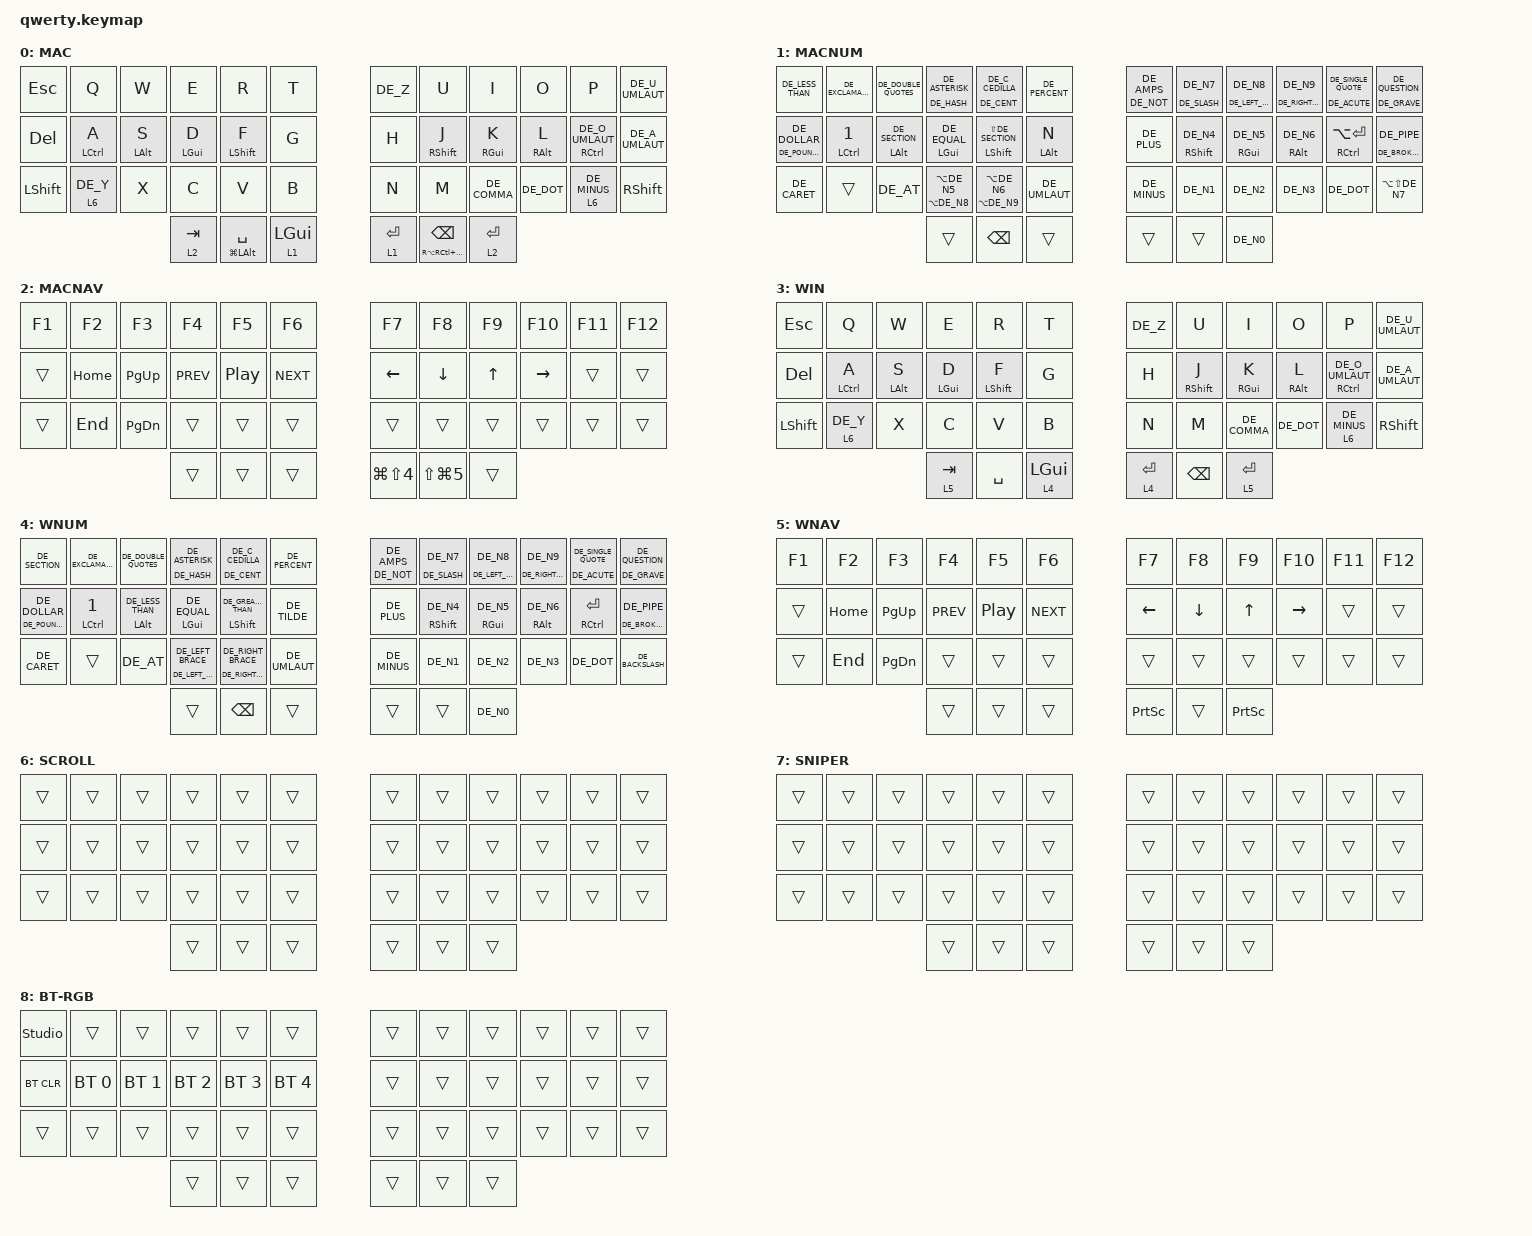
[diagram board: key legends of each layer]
/* upstream bindings and behaviors */
#include <behaviors.dtsi>
#include <dt-bindings/zmk/bt.h>
#include <dt-bindings/zmk/keys.h>
#include <dt-bindings/zmk/mouse.h>
#include <dt-bindings/zmk/outputs.h>
#include <behaviors/mouse_keys.dtsi>
#include <dt-bindings/zmk/ext_power.h>

/* local overlays */
#include "keymap_features/macros.dtsi"
#include "keymap_features/behaviors.dtsi"
#include "keymap_features/combos.dtsi"
#include "keymap_features/keys_de_swiss.h"

/ {
/* --- KEYMAP CONFIG --- */
// ╭──────┬──────┬──────┬──────┬──────┬──────╮  ╭──────┬──────┬──────┬──────┬──────┬──────╮
//    00     01     02     03    04      05        06     07     08     09     10     11
// ├──────┼──────┼──────┼──────┼──────┼──────┤  ├──────┼──────┼──────┼──────┼──────┼──────┤
//    12     13     14     15    16      17        18     19     20     21     22     23
// ├──────┼──────┼──────┼──────┼──────┼──────┤  ├──────┼──────┼──────┼──────┼──────┼──────┤
//    24     25     26     27    28      29        30     31     32     33     34     35
// ╰──────┴──────┴──────┼──────┼──────┼──────┤  ├──────┼──────┼──────┴──────┴──────┴──────╯
//                         36     37     38        39     40     41
//                      ╰──────┴──────┴──────╯  ╰──────┴──────┴──────╯
// #define BASE       0
// #define MACNUM    1
// #define MACNAV    2
// #define WIN       3
// #define WNUM      4
// #define WNAV      5
// #define SCROLL    6
// #define SNIPER    7
// #define BT-RGB    8

    keymap {
        compatible = "zmk,keymap";
        BASE {
            display-name = "MAC";
            bindings = <
    &kp ESC         &kp Q                &kp W            &kp E            &kp R                    &kp T             &kp DE_Z     &kp U                             &kp I             &kp O             &kp P                           &kp DE_U_UMLAUT
    &kp DELETE      &hml LEFT_CONTROL A  &hml LEFT_ALT S  &hml LEFT_GUI D  &hml LEFT_SHIFT F        &kp G             &kp H        &hmr RIGHT_SHIFT J                &hml RIGHT_GUI K  &hml RIGHT_ALT L  &hml RIGHT_CONTROL DE_O_UMLAUT  &kp DE_A_UMLAUT
    &kp LEFT_SHIFT  &lt 6 DE_Y           &kp X            &kp C            &kp V                    &kp B             &kp N        &kp M                             &kp DE_COMMA      &kp DE_DOT        &lt 6 DE_MINUS                  &kp RIGHT_SHIFT
                                                        &lt 2 TAB        &hml LG(LEFT_ALT) SPACE  &lt 1 LEFT_GUI    &lt 1 ENTER  &hmr RA(RC(RIGHT_GUI)) BACKSPACE  &lt 2 ENTER
                           // ╰────────┴────────┴────────╯  ╰────────┴────────┴────────╯
            >;
        };

        mac_raise_layer {
            display-name = "MACNUM";
            bindings = <
    &kp DE_LESS_THAN              &kp DE_EXCLAMATION    &kp DE_DOUBLE_QUOTES      &hml DE_HASH DE_ASTERISK  &hml DE_CENT DE_C_CEDILLA       &kp DE_PERCENT     &hmr DE_NOT DE_AMPS  &hmr DE_SLASH DE_N7     &hmr DE_LEFT_PARENTHESIS DE_N8  &hmr DE_RIGHT_PARENTHESIS DE_N9  &hmr DE_ACUTE DE_SINGLE_QUOTE  &hmr DE_GRAVE DE_QUESTION
    &hml DE_POUND_SIGN DE_DOLLAR  &hml LEFT_CONTROL N1  &hml LEFT_ALT DE_SECTION  &hml LEFT_GUI DE_EQUAL    &hml LEFT_SHIFT LS(DE_SECTION)  &hml LEFT_ALT N    &kp DE_PLUS          &hmr RIGHT_SHIFT DE_N4  &hmr RIGHT_GUI DE_N5            &hmr RIGHT_ALT DE_N6             &hmr RIGHT_CONTROL LA(RETURN)  &hmr DE_BROKEN_BAR DE_PIPE
    &kp DE_CARET                  &trans                &kp DE_AT                 &hml LA(DE_N8) LA(DE_N5)  &hml LA(DE_N9) LA(DE_N6)        &kp DE_UMLAUT      &kp DE_MINUS         &kp DE_N1               &kp DE_N2                       &kp DE_N3                        &kp DE_DOT                     &kp LA(LS(DE_N7))
                                                                                &trans                    &kp BACKSPACE                   &trans             &trans               &trans                  &kp DE_N0
                           // ╰────────┴────────┴────────╯  ╰────────┴────────┴────────╯
            >;
        };

        mac_lower_layer {
            display-name = "MACNAV";
            bindings = <
    &kp F1  &kp F2    &kp F3         &kp F4      &kp F5            &kp F6        &kp F7                &kp F8                &kp F9          &kp F10       &kp F11          &kp F12
    &trans  &kp HOME  &kp PAGE_UP    &kp C_PREV  &kp C_PLAY_PAUSE  &kp C_NEXT    &kp LEFT_ARROW        &kp DOWN_ARROW        &kp UP_ARROW    &kp RIGHT_ARROW  &trans        &trans
    &trans  &kp END   &kp PAGE_DOWN  &trans      &trans            &trans        &trans                &trans                &trans          &trans        &trans           &trans
                                    &trans      &trans            &trans        &kp LG(LS(NUMBER_4))  &kp LS(LG(NUMBER_5))  &trans
                           // ╰────────┴────────┴────────╯  ╰────────┴────────┴────────╯
            >;
        };

        win_layer {
            display-name = "WIN";
            bindings = <
    &kp ESC         &kp Q                &kp W            &kp E            &kp R              &kp T             &kp DE_Z     &kp U               &kp I             &kp O             &kp P                           &kp DE_U_UMLAUT
    &kp DELETE      &hml LEFT_CONTROL A  &hml LEFT_ALT S  &hml LEFT_GUI D  &hml LEFT_SHIFT F  &kp G             &kp H        &hmr RIGHT_SHIFT J  &hml RIGHT_GUI K  &hml RIGHT_ALT L  &hml RIGHT_CONTROL DE_O_UMLAUT  &kp DE_A_UMLAUT
    &kp LEFT_SHIFT  &lt 6 DE_Y           &kp X            &kp C            &kp V              &kp B             &kp N        &kp M               &kp DE_COMMA      &kp DE_DOT        &lt 6 DE_MINUS                  &kp RIGHT_SHIFT
                                                        &lt 5 TAB        &kp SPACE          &lt 4 LEFT_GUI    &lt 4 ENTER  &kp BACKSPACE       &lt 5 ENTER
                           // ╰────────┴────────┴────────╯  ╰────────┴────────┴────────╯
            >;
        };

        win_raise_layer {
            display-name = "WNUM";
            bindings = <
    &kp DE_SECTION                &kp DE_EXCLAMATION    &kp DE_DOUBLE_QUOTES        &hml DE_HASH DE_ASTERISK            &hml DE_CENT DE_C_CEDILLA             &kp DE_PERCENT    &hmr DE_NOT DE_AMPS  &hmr DE_SLASH DE_N7     &hmr DE_LEFT_PARENTHESIS DE_N8  &hmr DE_RIGHT_PARENTHESIS DE_N9  &hmr DE_ACUTE DE_SINGLE_QUOTE  &hmr DE_GRAVE DE_QUESTION
    &hml DE_POUND_SIGN DE_DOLLAR  &hml LEFT_CONTROL N1  &hml LEFT_ALT DE_LESS_THAN  &hml LEFT_GUI DE_EQUAL              &hml LEFT_SHIFT DE_GREATER_THAN       &kp DE_TILDE      &kp DE_PLUS          &hmr RIGHT_SHIFT DE_N4  &hmr RIGHT_GUI DE_N5            &hmr RIGHT_ALT DE_N6             &hmr RIGHT_CONTROL ENTER       &hmr DE_BROKEN_BAR DE_PIPE
    &kp DE_CARET                  &trans                &kp DE_AT                   &hml DE_LEFT_BRACKET DE_LEFT_BRACE  &hml DE_RIGHT_BRACKET DE_RIGHT_BRACE  &kp DE_UMLAUT     &kp DE_MINUS         &kp DE_N1               &kp DE_N2                       &kp DE_N3                        &kp DE_DOT                     &kp DE_BACKSLASH
                                                                                    &trans                              &kp BACKSPACE                         &trans            &trans               &trans                  &kp DE_N0
            >;
        };

        win_lower_layer {
            display-name = "WNAV";
            bindings = <
    &kp F1  &kp F2    &kp F3         &kp F4      &kp F5            &kp F6        &kp F7           &kp F8          &kp F9           &kp F10       &kp F11          &kp F12
    &trans  &kp HOME  &kp PAGE_UP    &kp C_PREV  &kp C_PLAY_PAUSE  &kp C_NEXT    &kp LEFT_ARROW   &kp DOWN_ARROW  &kp UP_ARROW     &kp RIGHT_ARROW  &trans           &trans
    &trans  &kp END   &kp PAGE_DOWN  &trans      &trans            &trans        &trans           &trans          &trans           &trans        &trans           &trans
                                    &trans      &trans            &trans        &kp PRINTSCREEN  &trans          &kp PRINTSCREEN
                           // ╰────────┴────────┴────────╯  ╰────────┴────────┴────────╯
            >;
        };

        SCROLL {
            display-name = "SCROLL";
            bindings = <
// ╭────────┬────────┬────────┬────────┬────────┬────────╮  ╭────────┬────────┬────────┬────────┬────────┬────────╮
    &trans    &trans   &trans   &trans   &trans   &trans      &trans   &trans   &trans   &trans   &trans   &trans
// ├────────┼────────┼────────┼────────┼────────┼────────┤  ├────────┼────────┼────────┼────────┼────────┼────────┤
    &trans    &trans   &trans   &trans   &trans   &trans      &trans   &trans   &trans   &trans   &trans   &trans
// ├────────┼────────┼────────┼────────┼────────┼────────┤  ├────────┼────────┼────────┼────────┼────────┼────────┤
    &trans    &trans   &trans   &trans   &trans   &trans      &trans   &trans   &trans   &trans   &trans   &trans
// ╰────────┴────────┴────────┼────────┼────────┼────────┤  ├────────┼────────┼────────┴────────┴────────┴────────╯
                                &trans   &trans   &trans      &trans   &trans   &trans
                           // ╰────────┴────────┴────────╯  ╰────────┴────────┴────────╯
            >;
        };

        SNIPER {
            display-name = "SNIPER";
            bindings = <
// ╭────────┬────────┬────────┬────────┬────────┬────────╮  ╭────────┬────────┬────────┬────────┬────────┬────────╮
    &trans    &trans   &trans   &trans   &trans   &trans      &trans   &trans   &trans   &trans   &trans   &trans
// ├────────┼────────┼────────┼────────┼────────┼────────┤  ├────────┼────────┼────────┼────────┼────────┼────────┤
    &trans    &trans   &trans   &trans   &trans   &trans      &trans   &trans   &trans   &trans   &trans   &trans
// ├────────┼────────┼────────┼────────┼────────┼────────┤  ├────────┼────────┼────────┼────────┼────────┼────────┤
    &trans    &trans   &trans   &trans   &trans   &trans      &trans   &trans   &trans   &trans   &trans   &trans
// ╰────────┴────────┴────────┼────────┼────────┼────────┤  ├────────┼────────┼────────┴────────┴────────┴────────╯
                                &trans   &trans   &trans      &trans   &trans   &trans
                           // ╰────────┴────────┴────────╯  ╰────────┴────────┴────────╯
            >;
        };

        BT-RGB {
            display-name = "BT-RGB";
            bindings = <
// ╭────────┬────────┬────────┬────────┬────────┬────────╮  ╭────────┬────────┬────────┬────────┬────────┬────────╮
    &studio_unlock    &trans   &trans   &trans   &trans   &trans      &trans   &trans   &trans   &trans   &trans   &trans
// ├────────┼────────┼────────┼────────┼────────┼────────┤  ├────────┼────────┼────────┼────────┼────────┼────────┤
    &bt BT_CLR         &bt BT_SEL 0  &bt BT_SEL 1  &bt BT_SEL 2  &bt BT_SEL 3  &bt BT_SEL 4      &trans   &trans   &trans   &trans   &trans   &trans
// ├────────┼────────┼────────┼────────┼────────┼────────┤  ├────────┼────────┼────────┼────────┼────────┼────────┤
    &trans    &trans   &trans   &trans   &trans   &trans      &trans   &trans   &trans   &trans   &trans   &trans
// ╰────────┴────────┴────────┼────────┼────────┼────────┤  ├────────┼────────┼────────┴────────┴────────┴────────╯
                                &trans   &trans   &trans      &trans   &trans   &trans
                           // ╰────────┴────────┴────────╯  ╰────────┴────────┴────────╯
            >;
        };

    };
};
